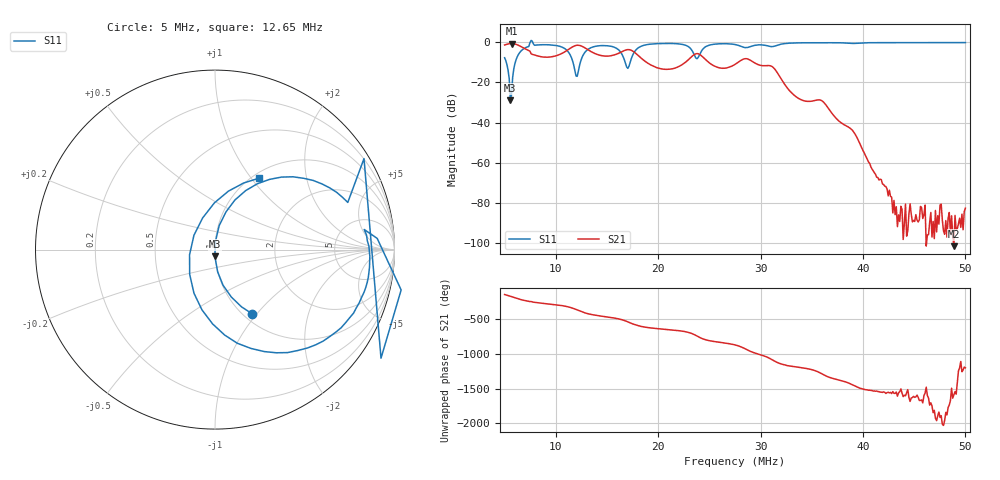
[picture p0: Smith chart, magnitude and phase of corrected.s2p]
! S11/S21 only; reverse parameters are placeholders. Device calibration unverified.
! [Saver CAL applied] C:\Users\aknya\MyProjects\rf-simulator\calibration2.cal | Ideal standards assumed | Input: NanoVNA F V2 profile | COM3 | 2026-09-08T12:28:50.7843117-04:00 | device calibration unverified
# HZ S RI R 50
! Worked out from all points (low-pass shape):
!   401 points, 5 MHz to 50 MHz, reference 50 ohm
!   highest |S21| = -0.65 dB at 5.675 MHz (marker M1); lowest = -101.4 dB at 48.88 MHz (marker M2)
!   |S21| within 3 dB of the highest: start of sweep to 7.152 MHz; 11.22 MHz to 13.11 MHz (1.889 MHz wide, 15.5 % of centre)
!   lowest |S11| = -28.8 dB at 5.562 MHz (marker M3), VSWR 1.08, Z = 49.8 - j3.63 ohm
!   |S11| at or under -10 dB: 5.164 MHz to 6.043 MHz (879.2 kHz wide, 15.7 % of centre); 11.68 MHz to 12.4 MHz (723.9 kHz wide, 6.01 % of centre); 16.77 MHz to 17.26 MHz (489 kHz wide, 2.87 % of centre)
!   S12 and S22 are empty: the file has one direction only
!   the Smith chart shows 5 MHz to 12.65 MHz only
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5000000  0.2053 -0.3566  -0.7133 -0.4684  0 0  0 0
5562500  -0.000934 -0.0364  -0.9167 -0.1276  0 0  0 0
5675000  0.00341 0.049  -0.9269 -0.036  0 0  0 0
6575000  0.4341 0.4056  -0.602 0.5028  0 0  0 0
7700000  1.037 -0.2247  -0.146 0.4764  0 0  0 0
1.09625e7  0.3415 -0.5749  0.425 0.4169  0 0  0 0
1.1975e7  -0.1418 -0.0289  0.8306 -0.0237  0 0  0 0
1.25375e7  0.1603 0.3714  0.6531 -0.4579  0 0  0 0
1.4675e7  0.807 -0.1629  -0.0965 -0.4442  0 0  0 0
1.61375e7  0.33 -0.5529  -0.3893 -0.3595  0 0  0 0
1.6925e7  -0.215 -0.1075  -0.6443 -0.0779  0 0  0 0
1.7825e7  0.3352 0.5488  -0.3695 0.3704  0 0  0 0
2.0075e7  0.924 0.0111  0.0364 0.2216  0 0  0 0
2.3675e7  0.3536 -0.1983  0.4971 -0.1301  0 0  0 0
2.75e7  0.746 -0.4598  -0.2477 -0.1326  0 0  0 0
2.9075e7  0.7124 -0.3427  -0.1259 0.324  0 0  0 0
3.0875e7  0.6561 -0.4413  0.2523 0.0692  0 0  0 0
3.50375e7  0.6996 -0.6708  -0.0297 -0.0174  0 0  0 0
3.8975e7  0.5331 -0.7662  0.00639 -0.000856  0 0  0 0
4.2575e7  0.4426 -0.8718  -0.000113 -0.000177  0 0  0 0
4.8875e7  0.1996 -0.96  -7.41e-06 -4.28e-06  0 0  0 0
5e7  0.1574 -0.9651  -3.95e-05 -6.39e-05  0 0  0 0
